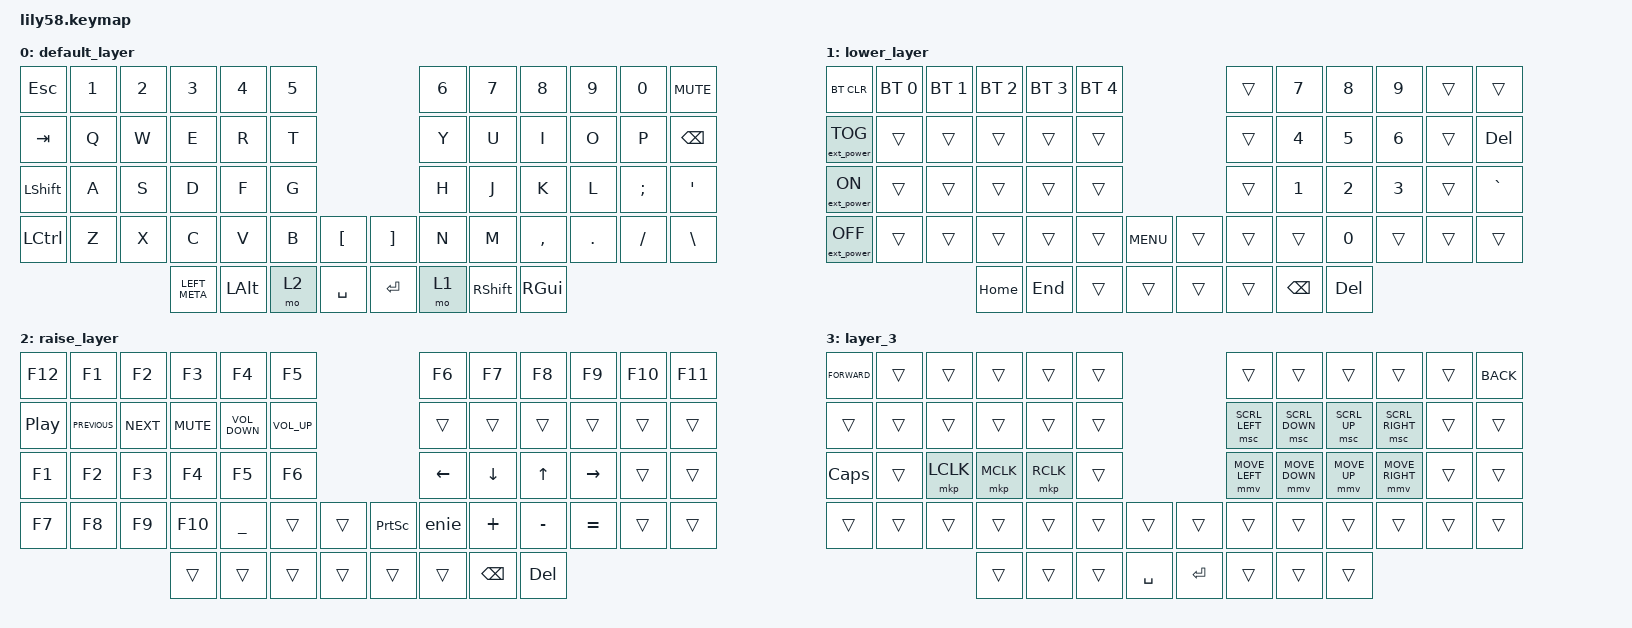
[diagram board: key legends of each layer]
/*
 * Copyright (c) 2020 The ZMK Contributors
 *
 * SPDX-License-Identifier: MIT
 */

#include <behaviors.dtsi>
#include <dt-bindings/zmk/bt.h>
#include <dt-bindings/zmk/ext_power.h>
#include <dt-bindings/zmk/keys.h>
#include <dt-bindings/zmk/pointing.h>

/ {
    macros {
        enie: enie {
            compatible = "zmk,behavior-macro";
            #binding-cells = <0>;
            bindings = <&kp LS(LC(U)) &kp LS(LC(NUMBER_0)) &kp LS(LC(NUMBER_0)) &kp LS(LC(F)) &kp LS(LC(NUMBER_1))>;
            label = "ENIE";
        };
    };

    keymap {
        compatible = "zmk,keymap";

        default_layer {
            // ------------------------------------------------------------------------------------------------------------
            // |  ESC  |  1  |  2  |  3   |  4   |  5   |                   |  6   |  7    |  8    |  9   |   0   |   `   |
            // |  TAB  |  Q  |  W  |  E   |  R   |  T   |                   |  Y   |  U    |  I    |  O   |   P   |   -   |
            // |  CTRL |  A  |  S  |  D   |  F   |  G   |                   |  H   |  J    |  K    |  L   |   ;   |   '   |
            // | SHIFT |  Z  |  X  |  C   |  V   |  B   |   "["  |  |  "]"  |  N   |  M    |  ,    |  .   |   /   | SHIFT |
            //                     | ALT  | GUI  | LOWER|  SPACE |  | ENTER | RAISE| BSPC  | GUI   |

            bindings = <
&kp ESC    &kp N1  &kp N2  &kp N3         &kp N4    &kp N5                         &kp N6  &kp N7           &kp N8         &kp N9   &kp N0    &kp C_MUTE
&kp TAB    &kp Q   &kp W   &kp E          &kp R     &kp T                          &kp Y   &kp U            &kp I          &kp O    &kp P     &kp BACKSPACE
&kp LSHFT  &kp A   &kp S   &kp D          &kp F     &kp G                          &kp H   &kp J            &kp K          &kp L    &kp SEMI  &kp APOS
&kp LCTRL  &kp Z   &kp X   &kp C          &kp V     &kp B   &kp LBKT     &kp RBKT  &kp N   &kp M            &kp COMMA      &kp DOT  &kp FSLH  &kp BSLH
                           &kp LEFT_META  &kp LALT  &mo 2   &kp SPACE    &kp RET   &mo 1   &kp RIGHT_SHIFT  &kp RIGHT_GUI
            >;
        };

        lower_layer {
            // ------------------------------------------------------------------------------------------------------------
            // | BTCLR | BT1 | BT2 |  BT3 |  BT4 |  BT5 |                   |      |       |       |      |       |       |
            // |  F1   |  F2 |  F3 |  F4  |  F5  |  F6  |                   |  F7  |  F8   |  F9   |  F10 |  F11  |  F12  |
            // |   `   |  !  |  @  |  #   |  $   |  %   |                   |  ^   |  &    |  *    |  (   |   )   |   ~   |
            // |       |     |     |      |      |      |        |  |       |      |  _    |  +    |  {   |   }   |  "|"  |
            //                     |      |      |      |        |  |       |      |       |       |

            bindings = <
&bt BT_CLR         &bt BT_SEL 0  &bt BT_SEL 1  &bt BT_SEL 2  &bt BT_SEL 3  &bt BT_SEL 4                        &trans  &kp N7    &kp N8   &kp N9  &trans  &trans
&ext_power EP_TOG  &trans        &trans        &trans        &trans        &trans                              &trans  &kp N4    &kp N5   &kp N6  &trans  &kp DELETE
&ext_power EP_ON   &trans        &trans        &trans        &trans        &trans                              &trans  &kp N1    &kp N2   &kp N3  &trans  &kp GRAVE
&ext_power EP_OFF  &trans        &trans        &trans        &trans        &trans        &kp K_MENU    &trans  &trans  &trans    &kp N0   &trans  &trans  &trans
                                               &kp HOME      &kp END       &trans        &trans        &trans  &trans  &kp BSPC  &kp DEL
            >;
        };

        raise_layer {
            // ------------------------------------------------------------------------------------------------------------
            // |       |     |     |      |      |      |                   |      |       |       |      |       |       |
            // |   `   |  1  |  2  |  3   |  4   |  5   |                   |  6   |   7   |   8   |  9   |   0   |       |
            // |   F1  |  F2 |  F3 |  F4  |  F5  |  F6  |                   |      |   <-  |   v   |  ^   |  ->   |       |
            // |   F7  |  F8 |  F9 |  F10 |  F11 |  F12 |        |  |       |  +   |   -   |   =   |  [   |   ]   |   \   |
            //                     |      |      |      |        |  |       |      |       |       |

            bindings = <
&kp F12           &kp F1          &kp F2      &kp F3      &kp F4             &kp F5                                   &kp F6    &kp F7         &kp F8      &kp F9     &kp F10  &kp F11
&kp C_PLAY_PAUSE  &kp C_PREVIOUS  &kp C_NEXT  &kp C_MUTE  &kp C_VOLUME_DOWN  &kp C_VOL_UP                             &trans    &trans         &trans      &trans     &trans   &trans
&kp F1            &kp F2          &kp F3      &kp F4      &kp F5             &kp F6                                   &kp LEFT  &kp DOWN       &kp UP      &kp RIGHT  &trans   &trans
&kp F7            &kp F8          &kp F9      &kp F10     &kp UNDER          &trans        &trans    &kp PRINTSCREEN  &enie     &kp PLUS       &kp MINUS   &kp EQUAL  &trans   &trans
                                              &trans      &trans             &trans        &trans    &trans           &trans    &kp BACKSPACE  &kp DELETE
            >;
        };

        layer_3 {
            bindings = <
&kp K_FORWARD  &trans  &trans     &trans     &trans     &trans                          &trans          &trans          &trans        &trans           &trans  &kp K_BACK
&trans         &trans  &trans     &trans     &trans     &trans                          &msc SCRL_LEFT  &msc SCRL_DOWN  &msc SCRL_UP  &msc SCRL_RIGHT  &trans  &trans
&kp CAPSLOCK   &trans  &mkp LCLK  &mkp MCLK  &mkp RCLK  &trans                          &mmv MOVE_LEFT  &mmv MOVE_DOWN  &mmv MOVE_UP  &mmv MOVE_RIGHT  &trans  &trans
&trans         &trans  &trans     &trans     &trans     &trans  &trans       &trans     &trans          &trans          &trans        &trans           &trans  &trans
                                  &trans     &trans     &trans  &kp SPACE    &kp ENTER  &trans          &trans          &trans
            >;
        };
    };

    conditional_layers {
        compatible = "zmk,conditional-layers";

        a3rdLayer {
            if-layers = <1 2>;
            then-layer = <3>;
        };
    };
};
